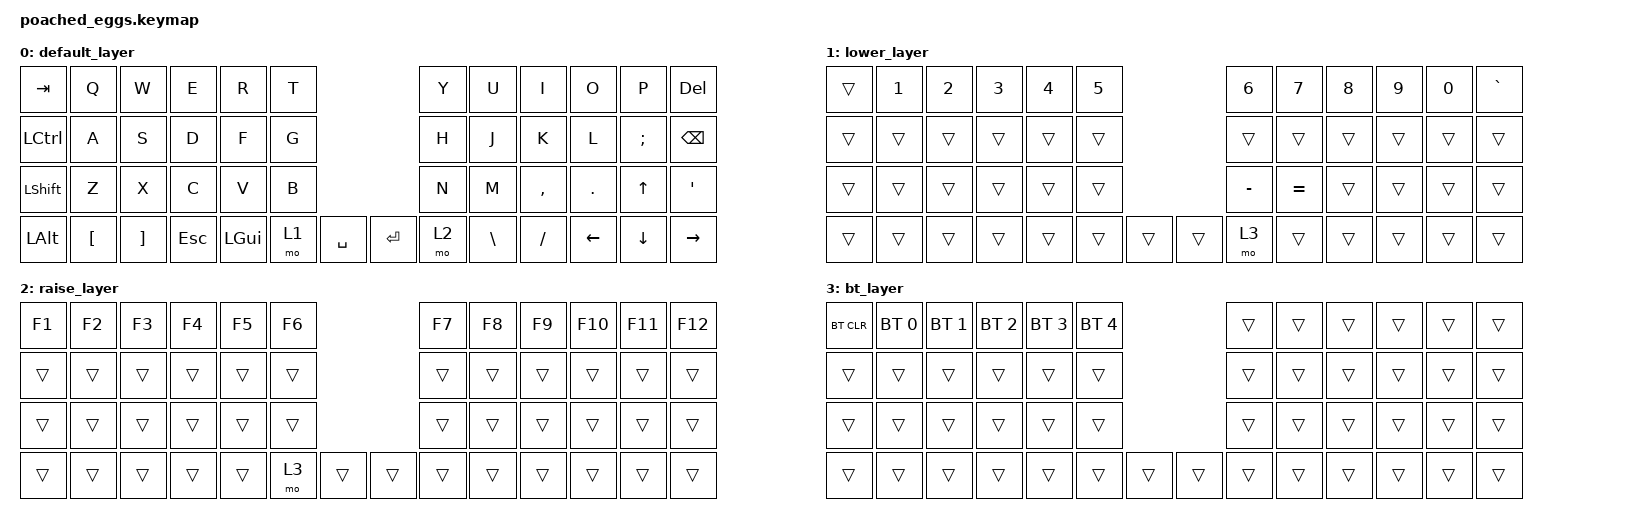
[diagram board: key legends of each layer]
#include <behaviors.dtsi>
#include <dt-bindings/zmk/keys.h>
#include <dt-bindings/zmk/bt.h>

/ {
    keymap {
        compatible = "zmk,keymap";

        default_layer {
            bindings = <
                &kp TAB     &kp Q       &kp W       &kp E       &kp R       &kp T                                &kp Y       &kp U      &kp I       &kp O       &kp P        &kp DEL
                &kp LCTRL   &kp A       &kp S       &kp D       &kp F       &kp G                                &kp H       &kp J      &kp K       &kp L       &kp SEMI     &kp BSPC
                &kp LSHFT   &kp Z       &kp X       &kp C       &kp V       &kp B                                &kp N       &kp M      &kp COMMA   &kp DOT     &kp UP       &kp SQT
                &kp LALT    &kp LBKT    &kp RBKT    &kp ESC     &kp LGUI    &mo 1       &kp SPACE    &kp RET     &mo 2       &kp BSLH   &kp FSLH    &kp LEFT    &kp DOWN     &kp RIGHT
            >;
        };

        lower_layer {
            bindings = <
                &trans      &kp N1      &kp N2      &kp N3      &kp N4      &kp N5                              &kp N6      &kp N7      &kp N8      &kp N9      &kp N0      &kp GRAVE
                &trans      &trans      &trans      &trans      &trans      &trans                              &trans      &trans      &trans      &trans      &trans      &trans
                &trans      &trans      &trans      &trans      &trans      &trans                              &kp MINUS   &kp EQUAL   &trans      &trans      &trans      &trans
                &trans      &trans      &trans      &trans      &trans      &trans      &trans      &trans      &mo 3       &trans      &trans      &trans      &trans      &trans
            >;
        };

        raise_layer {
            bindings = <
                &kp F1      &kp F2      &kp F3      &kp F4      &kp F5      &kp F6                              &kp F7      &kp F8      &kp F9      &kp F10     &kp F11     &kp F12
                &trans      &trans      &trans      &trans      &trans      &trans                              &trans      &trans      &trans      &trans      &trans      &trans
                &trans      &trans      &trans      &trans      &trans      &trans                              &trans      &trans      &trans      &trans      &trans      &trans
                &trans      &trans      &trans      &trans      &trans      &mo 3       &trans      &trans      &trans      &trans      &trans      &trans      &trans      &trans
            >;
        };

        bt_layer {
            bindings = <
                &bt BT_CLR  &bt BT_SEL 0 &bt BT_SEL 1 &bt BT_SEL 2 &bt BT_SEL 3 &bt BT_SEL 4                         &trans      &trans      &trans      &trans      &trans      &trans
                &trans      &trans       &trans       &trans       &trans       &trans                               &trans      &trans      &trans      &trans      &trans      &trans
                &trans      &trans       &trans       &trans       &trans       &trans                               &trans      &trans      &trans      &trans      &trans      &trans
                &trans      &trans       &trans       &trans       &trans       &trans       &trans      &trans      &trans      &trans      &trans      &trans      &trans      &trans
            >;
        };
    };
};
